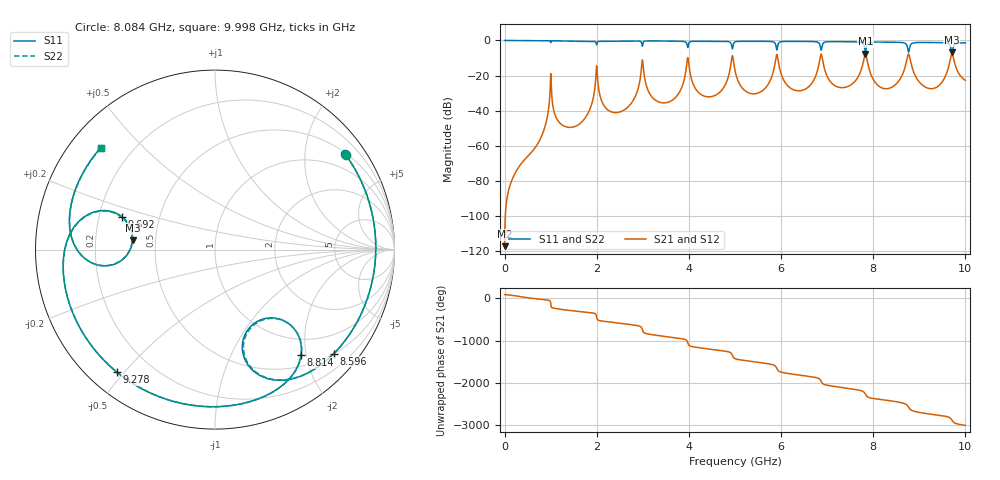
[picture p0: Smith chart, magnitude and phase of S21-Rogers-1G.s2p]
! TOUCHSTONE file generated by CST MICROWAVE STUDIO
! Date and time: Sun Jun 29 11:36:11 2025
! Project name: ResonadorAnillo.cst
! Parameters = {Eeff=2.85062; Er=3.66; H=1.524; L1=44.4214; L2=44.4214; Landa=177.685; T=0.017; W=3.30928; Wa=3.30928; X=121.031; Y=121.031; c=3e+11; f=1e+09; r=28.2795; s=0.3}
! Header version: 2024
! Port assignment regex: !\s*Touchstone port\s*([0-9]+)\s*=\s*(CST MWS port|CST DES external port|CST DES block port)\s*(.+)\s* \(\"(.*)\"\)(\s*mode\s*([0-9]+))?.*
! Touchstone port assignment:
! Touchstone port 1 = CST MWS port 1 ("")
! Touchstone port 2 = CST MWS port 2 ("")
# GHz S DB R 50
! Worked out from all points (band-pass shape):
!   5000 points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, 2 MHz to 10 GHz, reference 50 ohm
!   highest |S21| = -7.58 dB at 7.83 GHz (marker M1); lowest = -117.2 dB at 2 MHz (marker M2)
!   |S21| within 3 dB of the highest: 8.733 GHz to 8.801 GHz (67.84 MHz wide, 0.774 % of centre); 9.675 GHz to 9.745 GHz (70.49 MHz wide, 0.726 % of centre)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
!   lowest |S11| = -6.7 dB at 9.708 GHz (marker M3), VSWR 2.72, Z = 18.4 + j2.39 ohm
!   |S11| at or under -10 dB: nowhere
!   |S22| runs from -6.7 to 0.0 dB; largest |S21 - S12| = 1.4e-09
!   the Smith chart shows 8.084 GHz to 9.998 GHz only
!   S11 on the Smith chart (normalised r, x): 8.084 GHz: 0.54, +2.98; 8.596 GHz: 0.50, -2.58; 8.814 GHz: 0.69, -1.91; 9.278 GHz: 0.08, -0.48; 9.692 GHz: 0.30, +0.16; 9.998 GHz: 0.09, +0.38
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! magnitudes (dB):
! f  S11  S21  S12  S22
! 2 MHz  0.0  -117.2  -117.2  0.0
! 744 MHz  -0.1  -57.8  -57.8  -0.1
! 1.002 GHz  -1.3  -18.9  -18.9  -1.2
! 1.67 GHz  -0.5  -46.6  -46.6  -0.5
! 2 GHz  -2.4  -14.4  -14.4  -2.4
! 2.48 GHz  -0.4  -40.9  -40.9  -0.4
! 2.996 GHz  -2.9  -11.4  -11.4  -2.8
! 3.336 GHz  -0.3  -34.9  -34.9  -0.3
! 3.974 GHz  -4.0  -9.8  -9.8  -4.0
! 4.406 GHz  -0.5  -32.1  -32.1  -0.5
! 5.002 GHz  -0.8  -17.2  -17.2  -0.8
! 6.668 GHz  -0.6  -24.4  -24.4  -0.6
! 7.83 GHz  -6.3  -7.6  -7.6  -5.9
! 8.084 GHz  -0.9  -25.2  -25.2  -0.9
! 8.334 GHz  -1.0  -27.3  -27.3  -1.0
! 8.596 GHz  -1.1  -21.4  -21.4  -1.1
! 8.814 GHz  -2.4  -12.1  -12.1  -2.4
! 9.278 GHz  -1.2  -27.5  -27.5  -1.2
! 9.692 GHz  -5.2  -8.7  -8.7  -5.2
! 9.708 GHz  -6.7  -7.8  -7.8  -6.7
! 9.998 GHz  -1.4  -22.7  -22.7  -1.4
! 10 GHz  -1.4  -22.7  -22.7  -1.4
